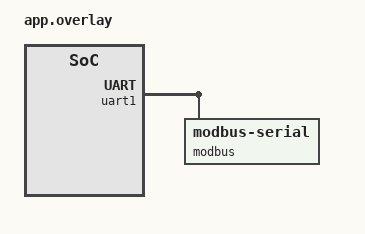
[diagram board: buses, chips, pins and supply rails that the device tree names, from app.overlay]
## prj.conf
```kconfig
CONFIG_LOG=y
CONFIG_GPIO=y
CONFIG_SERIAL=y
CONFIG_UART_INTERRUPT_DRIVEN=y
CONFIG_UART_LINE_CTRL=n

CONFIG_MODBUS=y
CONFIG_MODBUS_ROLE_CLIENT=y
CONFIG_MODBUS_LOG_LEVEL_DBG=y

CONFIG_LOG_MODE_MINIMAL=y
```

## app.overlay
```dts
/*
 * Copyright (c) 2020 Phytec Messtechnik GmbH
 *
 * SPDX-License-Identifier: Apache-2.0
 */

&uart1 {
	status = "okay";

	modbus {
		compatible = "zephyr,modbus-serial";
		status = "okay";
		/** de-gpios = <&arduino_header 15 GPIO_ACTIVE_LOW>; **/
	};
};
```

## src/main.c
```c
/*
 * Copyright (c) 2020 PHYTEC Messtechnik GmbH
 *
 * SPDX-License-Identifier: Apache-2.0
 */

#include <zephyr/kernel.h>
#include <zephyr/sys/util.h>
#include <zephyr/modbus/modbus.h>

#include <zephyr/logging/log.h>
LOG_MODULE_REGISTER(mbc_sample, LOG_LEVEL_INF);

static int client_iface;

const static struct modbus_iface_param client_param = {
	.mode = MODBUS_MODE_RTU,
	.rx_timeout = 50000,
	.serial = {
		.baud = 38400,
		.parity = UART_CFG_PARITY_NONE,
		.stop_bits_client = UART_CFG_STOP_BITS_2,
	},
};

#define MODBUS_NODE DT_COMPAT_GET_ANY_STATUS_OKAY(zephyr_modbus_serial)

static int init_modbus_client(void)
{
	const char iface_name[] = {DEVICE_DT_NAME(MODBUS_NODE)};

	client_iface = modbus_iface_get_by_name(iface_name);

	return modbus_init_client(client_iface, client_param);
}

int main(void)
{
	uint16_t holding_reg[8] = {'H', 'e', 'l', 'l', 'o'};
	const uint8_t coil_qty = 3;
	uint8_t coil[3] = {0};
	const int32_t sleep = 250;
	static uint8_t node = 1;
	int err;


	if (init_modbus_client() != 0) {
		LOG_ERR("Modbus RTU client initialization failed");
		return 0;
	}

	/* Retry until valid server response received */
	while ((err = modbus_write_holding_regs(client_iface, node, 0,
				holding_reg, ARRAY_SIZE(holding_reg))) != 0) {
		LOG_ERR("FC16 failed with %d", err);
		k_sleep(K_MSEC(50));
	}

	k_msleep(100);

	err = modbus_read_holding_regs(client_iface, node, 0, holding_reg,
				       ARRAY_SIZE(holding_reg));
	if (err != 0) {
		LOG_ERR("FC03 failed with %d", err);
		return 0;
	}

	LOG_HEXDUMP_INF(holding_reg, sizeof(holding_reg),
			"WR|RD holding register:");

	while (true) {
		uint16_t addr = 0;

		err = modbus_read_coils(client_iface, node, 0, coil, coil_qty);
		if (err != 0) {
			LOG_ERR("FC01 failed with %d", err);
			return 0;
		}

		LOG_INF("Coils state 0x%02x", coil[0]);

		err = modbus_write_coil(client_iface, node, addr++, true);
		if (err != 0) {
			LOG_ERR("FC05 failed with %d", err);
			return 0;
		}

		k_msleep(sleep);
		err = modbus_write_coil(client_iface, node, addr++, true);
		if (err != 0) {
			LOG_ERR("FC05 failed with %d", err);
			return 0;
		}

		k_msleep(sleep);
		err = modbus_write_coil(client_iface, node, addr++, true);
		if (err != 0) {
			LOG_ERR("FC05 failed with %d", err);
			return 0;
		}

		k_msleep(sleep);
		err = modbus_read_coils(client_iface, node, 0, coil, coil_qty);
		if (err != 0) {
			LOG_ERR("FC01 failed with %d", err);
			return 0;
		}

		LOG_INF("Coils state 0x%02x", coil[0]);

		coil[0] = 0;

		k_msleep(sleep);
		err = modbus_write_coils(client_iface, node, 0, coil, coil_qty);
		if (err != 0) {
			LOG_ERR("FC15 failed with %d", err);
			return 0;
		}

		k_msleep(sleep);
	}
}
```
